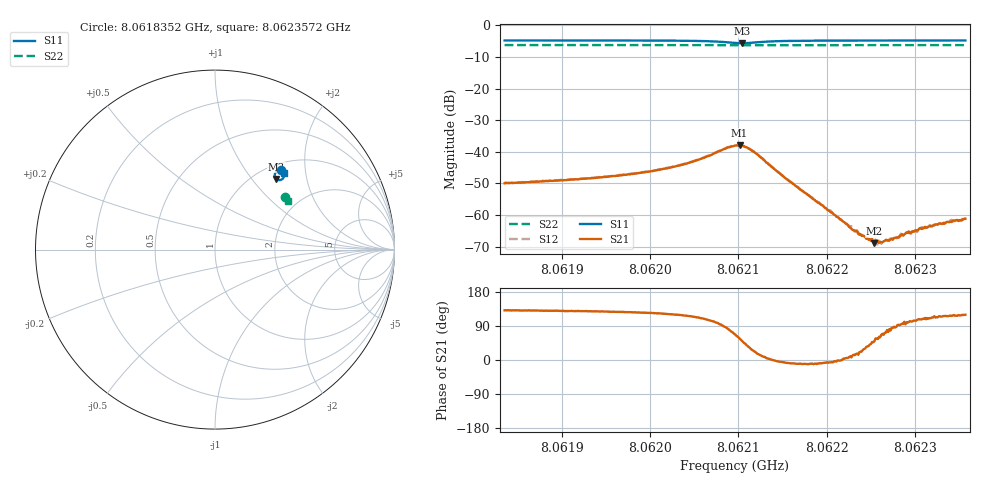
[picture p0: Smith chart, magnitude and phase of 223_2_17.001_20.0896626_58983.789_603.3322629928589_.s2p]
#  HZ  S  RI  R  50.00
! Rohde & Schwarz Vector Network Analyzer
! Rohde-Schwarz,ZNB20-2Port,1311601062101988,3.16
! Created: UTC 3/20/2024, 11:02:03 PM
! freq[Hz]  re:S11  im:S11  re:S21  im:S21  re:S12  im:S12  re:S22  im:S22
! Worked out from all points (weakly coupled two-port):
!   401 points, 8.0618352 GHz to 8.0623572 GHz, reference 50 ohm
!   highest |S21| = -37.94 dB at 8.0621014 GHz (marker M1); lowest = -68.9 dB at 8.0622541 GHz (marker M2)
!   lowest |S11| = -5.7 dB at 8.062104 GHz (marker M3), VSWR 3.17, Z = 61.9 + j66.8 ohm
!   |S11| at or under -10 dB: nowhere
!   |S22| runs from -6.3 to -6.2 dB; largest |S21 - S12| = 0.0009
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8.06183516e9  0.366 0.4445  -0.00209 0.00241  -0.002 0.00258  0.3873 0.2953
8.06192259e9  0.3727 0.4386  -0.00236 0.00292  -0.00219 0.00302  0.3905 0.291
8.06196566e9  0.3761 0.4345  -0.00254 0.00339  -0.00242 0.00359  0.392 0.2887
8.06201003e9  0.3806 0.4284  -0.00283 0.00436  -0.0026 0.00456  0.3934 0.2863
8.06204918e9  0.3845 0.4173  -0.00288 0.00644  -0.00254 0.00671  0.3946 0.2841
8.06209616e9  0.3559 0.3872  0.00478 0.0116  0.00553 0.0114  0.3943 0.281
8.06210138e9  0.3459 0.3904  0.00694 0.0106  0.00766 0.0101  0.3943 0.2811
8.06210399e9  0.3412 0.3935  0.00792 0.00963  0.00857 0.00924  0.3941 0.2812
8.06211835e9  0.3329 0.4188  0.00903 0.00378  0.00939 0.0032  0.3946 0.2816
8.06215097e9  0.3542 0.4391  0.00407 -0.000423  0.00406 -0.000705  0.3968 0.2808
8.0621836e9  0.3661 0.4387  0.00183 -0.000305  0.00185 -0.000421  0.3985 0.279
8.06222928e9  0.3745 0.4354  0.00057 0.000119  0.000617 4.21e-05  0.4002 0.2767
8.06223711e9  0.3754 0.4348  0.000461 0.000174  0.000478 0.000153  0.4005 0.2762
8.06224755e9  0.3768 0.434  0.000324 0.000245  0.000366 0.000232  0.4009 0.2756
8.06225407e9  0.3776 0.4336  0.000232 0.000273  0.000238 0.00028  0.4011 0.2754
8.06225929e9  0.3781 0.4333  0.000176 0.000319  0.00019 0.000344  0.4012 0.2751
8.06227104e9  0.3793 0.4326  5.78e-05 0.000391  0.000127 0.000392  0.4016 0.2745
8.06229061e9  0.3812 0.4313  -8.9e-05 0.000525  -5.15e-05 0.000531  0.4023 0.2735
8.06231019e9  0.3828 0.4301  -0.000197 0.000597  -0.000199 0.000607  0.4029 0.2725
8.06233368e9  0.3845 0.4285  -0.000322 0.000654  -0.000276 0.000701  0.4036 0.2714
8.0623402e9  0.3851 0.4281  -0.000358 0.000706  -0.000331 0.000754  0.4039 0.271
8.06235717e9  0.3864 0.4272  -0.000429 0.000763  -0.000369 0.000793  0.4045 0.2701
